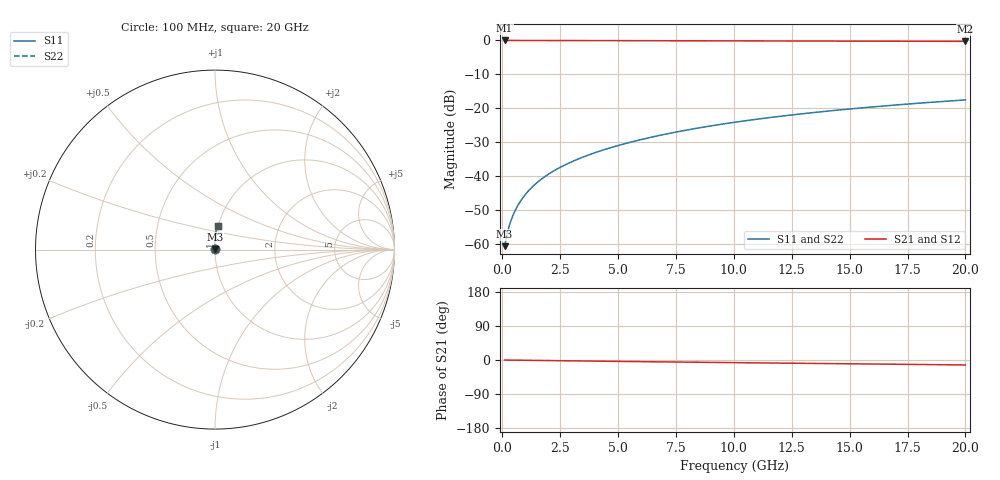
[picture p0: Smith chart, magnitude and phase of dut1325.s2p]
! Touchstone file exported from HFSS 2024.1.0
!  File:  C:/UserFiles/LocalFiles/RDL_TSV_Batchsim/temp_RDL_top_1325_1780365188.aedt
!  Generated:  09:55:15 AM Jun  2, 2026
!  Design:  RDL_top
!  Project:  temp_RDL_top_1325_1780365188
!  Setup:  Setup1
!  Solution:  Sweep
! Variables:
!  dtsv = 10.80580581um
!  hbump = 3um
!  htsv = 80.51um
!  ldown = 100um
!  lrdl = 163.32um
!  p = 40
!  p1 = 51.01um
!  rhole = 1um
!  t = 450um
!  tdown = 3.915915916um
!  trdl = 4.2um
!  wdown = 15.38538539um
!  wrdl = 26.47um
# GHz S MA R 50.000000
! Terminal data exported
! Port[1] = Box2_T1
! Port[2] = Box2_T2
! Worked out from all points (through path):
!   200 points, 100 MHz to 20 GHz, reference 50 ohm
!   highest |S21| = -0.01 dB at 100 MHz (marker M1); lowest = -0.3 dB at 20 GHz (marker M2)
!   group delay of S21, straight-line fit = 1.78 ps
!   lowest |S11| = -60.5 dB at 100 MHz (marker M3), VSWR 1.00, Z = 50.1 + j0.06 ohm
!   |S11| at or under -10 dB: start of sweep to end of sweep
!   |S22| runs from -60.5 to -17.5 dB; largest |S21 - S12| = 4.4e-15
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0.1  0.0009401 39.6  0.9993 -0.1  0.9993 -0.1  0.0009401 39.6
! Gamma 0 0 0 0
! Port Impedance 50 0 50 0
0.2  0.001393 56.4  0.9992 -0.2  0.9992 -0.2  0.001393 56.4
0.3  0.001876 64.6  0.9992 -0.2  0.9992 -0.2  0.001876 64.6
0.4  0.002367 69.7  0.9991 -0.3  0.9991 -0.3  0.002367 69.7
0.5  0.002866 73.2  0.9991 -0.4  0.9991 -0.4  0.002866 73.2
0.6  0.003371 75.8  0.999 -0.5  0.999 -0.5  0.003371 75.8
0.8  0.004398 79.4  0.9989 -0.6  0.9989 -0.6  0.004398 79.4
1.1  0.005967 82.8  0.9987 -0.8  0.9987 -0.8  0.005967 82.8
1.5  0.008097 85.4  0.9984 -1.2  0.9984 -1.2  0.008097 85.4
1.8  0.009718 86.8  0.9982 -1.4  0.9982 -1.4  0.009718 86.8
2.1  0.01136 87.9  0.9979 -1.6  0.9979 -1.6  0.01136 87.9
2.7  0.01471 89.4  0.9971 -2.1  0.9971 -2.1  0.01471 89.4
3.5  0.01931 90.8  0.9959 -2.6  0.9959 -2.6  0.01931 90.8
4.2  0.02349 91.6  0.9948 -3.1  0.9948 -3.1  0.02349 91.6
5  0.02843 92.2  0.9933 -3.7  0.9933 -3.7  0.02843 92.2
6.8  0.04013 92.6  0.9899 -4.9  0.9899 -4.9  0.04013 92.6
8.4  0.05105 92.1  0.9869 -6.0  0.9869 -6.0  0.05105 92.1
10.1  0.063 91.2  0.9838 -7.0  0.9838 -7.0  0.063 91.2
11.7  0.07441 90.1  0.9811 -8.0  0.9811 -8.0  0.07441 90.1
13.4  0.08659 88.8  0.9784 -9.1  0.9784 -9.1  0.08659 88.8
16.7  0.1102 86.1  0.9733 -11.0  0.9733 -11.0  0.1102 86.1
20  0.1334 83.5  0.9684 -13.0  0.9684 -13.0  0.1334 83.5
